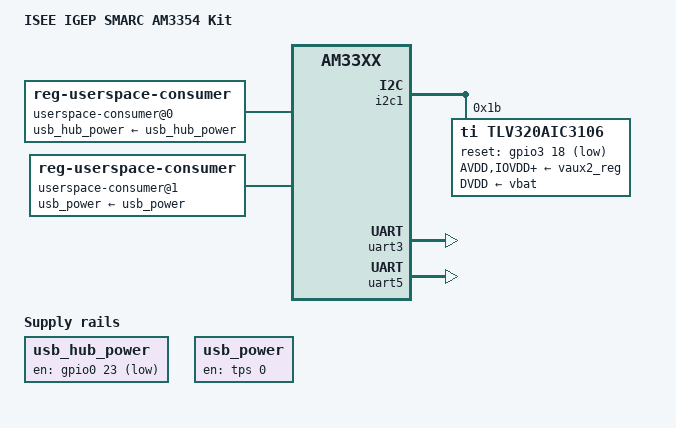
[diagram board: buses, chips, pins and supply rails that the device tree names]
/*
 * am335x-igep-base0040.dts - Device Tree file for IGEP0034 (Full)
 * MODULE based on AM3354 and BASE0040 RB IGEP SMARC EXPANSION 
 *
 * Copyright (C) 2016 ISEE 2007 SL - http://www.isee.biz
 *
 * This program is free software; you can redistribute it and/or modify
 * it under the terms of the GNU General Public License version 2 as
 * published by the Free Software Foundation.
 */

/dts-v1/;

#include "am335x-igep-igep0034.dtsi"

/ {
	model = "ISEE IGEP SMARC AM3354 Kit";
	compatible = "isee,am335x-igep-base0040", "isee,am335x-igep-igep0034", "isee,am335x-igep-igep0034-lite", "ti,am33xx";

	sound {
		compatible = "ti,da830-evm-audio";
		ti,model = "AM335x-BASE0040";
		ti,audio-codec = <&tlv320aic3106>;
		ti,mcasp-controller = <&mcasp0>;
		ti,codec-clock-rate = <12000000>;
		ti,audio-routing =
            "Headphone Jack",       "HPLOUT",
            "Headphone Jack",       "HPROUT",
            "Mic Jack",             "MIC3L",
            "Mic Jack",             "MIC3R",
            "Line In",              "LINE1L",
            "Line In",              "LINE1R";
	};

	regulators {
		compatible = "simple-bus";
		#address-cells = <1>;
		#size-cells = <0>;

		usb_hub_power: fixedregulator@3 {
			compatible = "regulator-fixed";
			regulator-name = "usb_hub_power";
			reg = <1>;
			gpio = <&gpio0 23 0>;
		};

		usb_power: fixedregulator@4 {
			compatible = "regulator-fixed";
			regulator-name = "usb_power";
			reg = <2>;
			gpio = <&tps 0 0>;
			enable-active-high;
		};
	};

	userspace-consumer@0 {
		compatible = "reg-userspace-consumer";
		regulator-name = "usb_hub_power";
		regulator-boot-on;
		regulator-supplies = "usb_hub_power";
		usb_hub_power-supply = <&usb_hub_power>;
	};

	userspace-consumer@1 {
		compatible = "reg-userspace-consumer";
		regulator-name = "usb_power";
		regulator-supplies = "usb_power";
		usb_power-supply = <&usb_power>;
	};
};

&am33xx_pinmux {
	pinctrl-names = "default";
		pinctrl-0 = <
			&user_buttons_pins_default
		>;

	reset_tlv320_pins: pinmux_reset_tlv320_pins {
		pinctrl-single,pins = <
			AM33XX_IOPAD(0x9A0, PIN_OUTPUT_PULLUP | MUX_MODE7 ) /* mcasp0_aclkr.gpio3[18] */
		>;
	};

	user_buttons_pins_default: pinmux_user_buttons_pins_default {
		pinctrl-single,pins = <
			AM33XX_IOPAD(0x9E8, PIN_INPUT_PULLUP | MUX_MODE7)		/* EMU1.gpio3[8] */
		>;
	};

	uart3_pins_default: pinmux_uart3_pins_default {
		pinctrl-single,pins = <
			AM33XX_IOPAD(0x934, PIN_INPUT_PULLUP | MUX_MODE1)		/* gmii1_rxd3.uart3_rxd */
			AM33XX_IOPAD(0x938, PIN_OUTPUT | MUX_MODE1)				/* gmii1_rxclk.uart2_txd */
		>;
	};

	uart3_pins_sleep: pinmux_uart3_pins_sleep {
		pinctrl-single,pins = <
			AM33XX_IOPAD(0x934, PIN_INPUT_PULLDOWN | MUX_MODE7)
			AM33XX_IOPAD(0x938, PIN_INPUT_PULLDOWN | MUX_MODE7)
		>;
	};

	uart5_pins_default: pinmux_uart5_pins_default {
		pinctrl-single,pins = <
			AM33XX_IOPAD(0x908, PIN_INPUT_PULLUP | MUX_MODE3)		/* gmii1_col.uart5_rxd */
			AM33XX_IOPAD(0x918, PIN_OUTPUT | MUX_MODE3)				/* gmii1_rxdv.uart5_txd */
		>;
	};

	uart5_pins_sleep: pinmux_uart5_pins_sleep {
		pinctrl-single,pins = <
			AM33XX_IOPAD(0x908, PIN_INPUT_PULLDOWN | MUX_MODE7)
			AM33XX_IOPAD(0x918, PIN_INPUT_PULLDOWN | MUX_MODE7)
		>;
	};
};

&i2c1 {
	tlv320aic3106: tlv320aic3106@1b {
		compatible = "ti,tlv320aic3106";
		reg = <0x1b>;
		status = "okay";
		gpio-reset = <&gpio3 18 1>;
		ai3x-micbias-vg = <2>;

		/* Regulators */
		AVDD-supply = <&vaux2_reg>;
		IOVDD-supply = <&vaux2_reg>;
		DRVDD-supply = <&vaux2_reg>;
		DVDD-supply = <&vbat>;
	};
};

&mcasp0 {
	op-mode = <0>;		/* MCASP_IIS_MODE */
	tdm-slots = <2>;
	/* 16 serializer */
	serial-dir = < /* 0: INACTIVE, 1: TX, 2: RX */
		1 2 0 0
	>;
	tx-num-evt = <32>;
	rx-num-evt = <32>;
};

&uart3 {
	status = "okay";
	pinctrl-names = "default", "sleep";
	pinctrl-0 = <&uart3_pins_default>;
	pinctrl-1 = <&uart3_pins_sleep>;
};

&uart5 {
	status = "okay";
	pinctrl-names = "default", "sleep";
	pinctrl-0 = <&uart5_pins_default>;
	pinctrl-1 = <&uart5_pins_sleep>;
};

&tscadc {
	adc {
		ti,adc-channels = <0 1 2 3 4 5 6>;
	};
};
